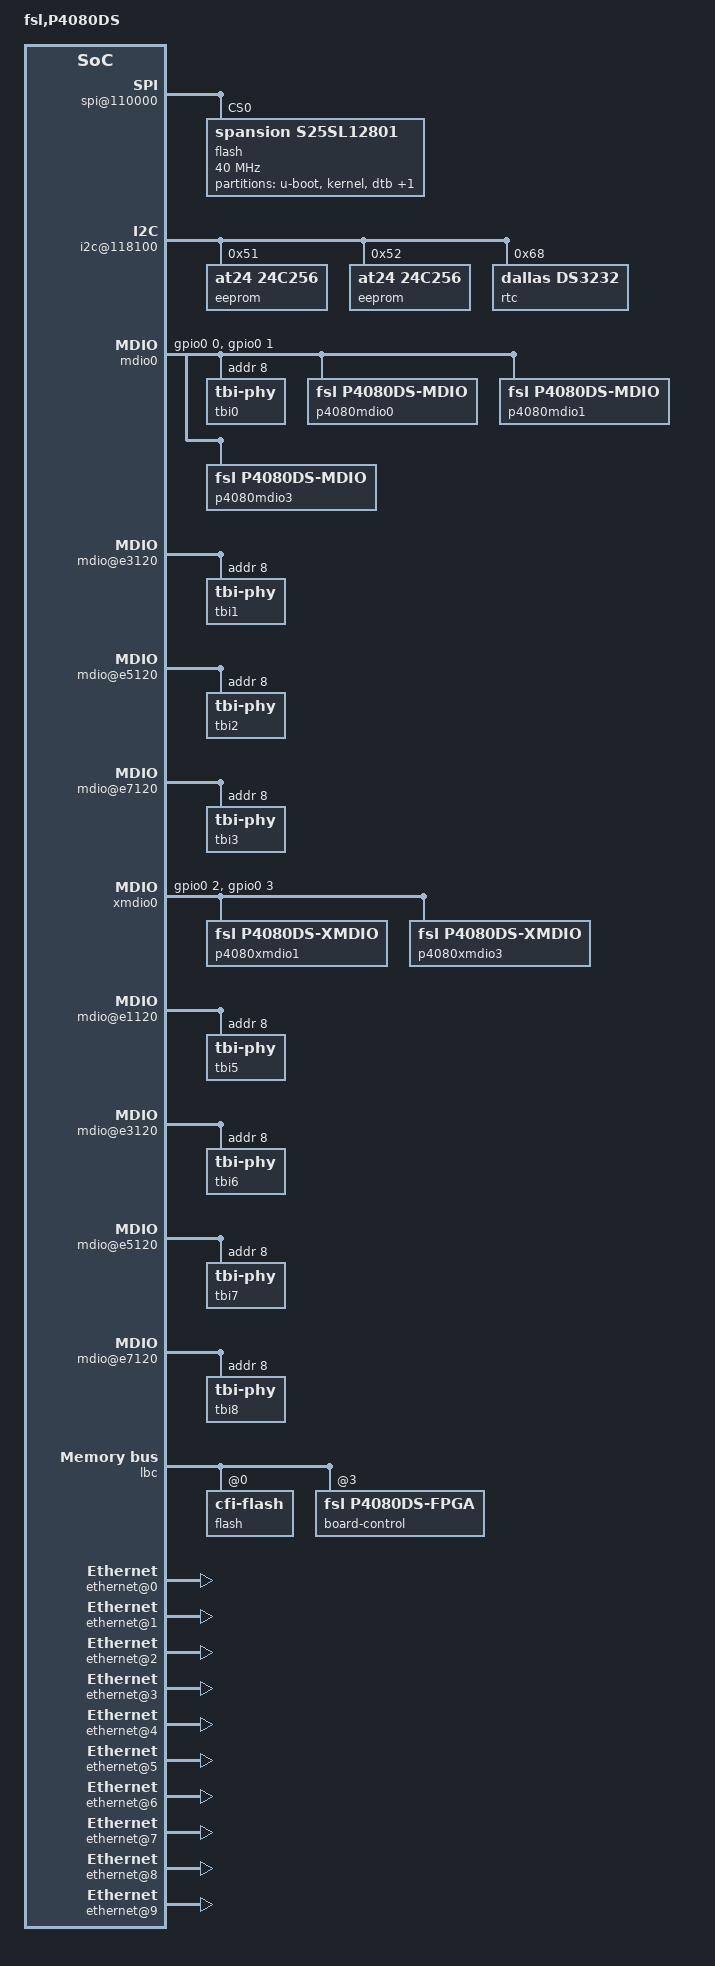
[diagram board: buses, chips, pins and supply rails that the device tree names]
/*
 * P4080DS Device Tree Source
 *
 * Copyright 2009-2011 Freescale Semiconductor Inc.
 *
 * Redistribution and use in source and binary forms, with or without
 * modification, are permitted provided that the following conditions are met:
 *     * Redistributions of source code must retain the above copyright
 *       notice, this list of conditions and the following disclaimer.
 *     * Redistributions in binary form must reproduce the above copyright
 *       notice, this list of conditions and the following disclaimer in the
 *       documentation and/or other materials provided with the distribution.
 *     * Neither the name of Freescale Semiconductor nor the
 *       names of its contributors may be used to endorse or promote products
 *       derived from this software without specific prior written permission.
 *
 *
 * ALTERNATIVELY, this software may be distributed under the terms of the
 * GNU General Public License ("GPL") as published by the Free Software
 * Foundation, either version 2 of that License or (at your option) any
 * later version.
 *
 * THIS SOFTWARE IS PROVIDED BY Freescale Semiconductor ``AS IS'' AND ANY
 * EXPRESS OR IMPLIED WARRANTIES, INCLUDING, BUT NOT LIMITED TO, THE IMPLIED
 * WARRANTIES OF MERCHANTABILITY AND FITNESS FOR A PARTICULAR PURPOSE ARE
 * DISCLAIMED. IN NO EVENT SHALL Freescale Semiconductor BE LIABLE FOR ANY
 * DIRECT, INDIRECT, INCIDENTAL, SPECIAL, EXEMPLARY, OR CONSEQUENTIAL DAMAGES
 * (INCLUDING, BUT NOT LIMITED TO, PROCUREMENT OF SUBSTITUTE GOODS OR SERVICES;
 * LOSS OF USE, DATA, OR PROFITS; OR BUSINESS INTERRUPTION) HOWEVER CAUSED AND
 * ON ANY THEORY OF LIABILITY, WHETHER IN CONTRACT, STRICT LIABILITY, OR TORT
 * (INCLUDING NEGLIGENCE OR OTHERWISE) ARISING IN ANY WAY OUT OF THE USE OF THIS
 * SOFTWARE, EVEN IF ADVISED OF THE POSSIBILITY OF SUCH DAMAGE.
 */

/include/ "fsl/p4080si-pre.dtsi"

/ {
	model = "fsl,P4080DS";
	compatible = "fsl,P4080DS";
	#address-cells = <2>;
	#size-cells = <2>;
	interrupt-parent = <&mpic>;

	aliases {
		ethernet0 = &enet0;
		ethernet1 = &enet1;
		ethernet2 = &enet2;
		ethernet3 = &enet3;
		ethernet4 = &enet4;
		ethernet5 = &enet5;
		ethernet6 = &enet6;
		ethernet7 = &enet7;
		ethernet8 = &enet8;
		ethernet9 = &enet9;
		phy_rgmii = &phyrgmii;
		phy5_slot3 = &phy5slot3;
		phy6_slot3 = &phy6slot3;
		phy7_slot3 = &phy7slot3;
		phy8_slot3 = &phy8slot3;
		emi1_slot3 = &p4080mdio2;
		emi1_slot4 = &p4080mdio1;
		emi1_slot5 = &p4080mdio3;
		emi1_rgmii = &p4080mdio0;
		emi2_slot4 = &p4080xmdio1;
		emi2_slot5 = &p4080xmdio3;
	};

	memory {
		device_type = "memory";
	};

	dcsr: dcsr@f00000000 {
		ranges = <0x00000000 0xf 0x00000000 0x01008000>;
	};

	bportals: bman-portals@ff4000000 {
		ranges = <0x0 0xf 0xf4000000 0x200000>;
		bman-portal@0 {
			cpu-handle = <&cpu0>;
		};
		bman-portal@4000 {
			cpu-handle = <&cpu1>;
		};
		bman-portal@8000 {
			cpu-handle = <&cpu2>;
		};
		bman-portal@c000 {
			cpu-handle = <&cpu3>;
		};
		bman-portal@10000 {
			cpu-handle = <&cpu4>;
		};
		bman-portal@14000 {
			cpu-handle = <&cpu5>;
		};
		bman-portal@18000 {
			cpu-handle = <&cpu6>;
		};
		bman-portal@1c000 {
			cpu-handle = <&cpu7>;
		};
		bman-portal@20000 {
		};
		bman-portal@24000 {
		};

		buffer-pool@0 {
			compatible = "fsl,p4080-bpool", "fsl,bpool";
			fsl,bpid = <0>;
			fsl,bpool-cfg = <0 0x100 0 1 0 0x100>;
		};
	};

	qportals: qman-portals@ff4200000 {
		ranges = <0x0 0xf 0xf4200000 0x200000>;
		qportal0: qman-portal@0 {
			cpu-handle = <&cpu0>;
			fsl,qman-pool-channels = <&qpool1 &qpool2 &qpool3
						  &qpool4 &qpool5 &qpool6
						  &qpool7 &qpool8 &qpool9
						  &qpool10 &qpool11 &qpool12
						  &qpool13 &qpool14 &qpool15>;
		};

		qportal1: qman-portal@4000 {
			cpu-handle = <&cpu1>;
			fsl,qman-pool-channels = <&qpool1 &qpool2 &qpool3
						  &qpool4 &qpool5 &qpool6
						  &qpool7 &qpool8 &qpool9
						  &qpool10 &qpool11 &qpool12
						  &qpool13 &qpool14 &qpool15>;
		};

		qportal2: qman-portal@8000 {
			cpu-handle = <&cpu2>;
			fsl,qman-pool-channels = <&qpool1 &qpool2 &qpool3
						  &qpool4 &qpool5 &qpool6
						  &qpool7 &qpool8 &qpool9
						  &qpool10 &qpool11 &qpool12
						  &qpool13 &qpool14 &qpool15>;
		};

		qportal3: qman-portal@c000 {
			cpu-handle = <&cpu3>;
			fsl,qman-pool-channels = <&qpool1 &qpool2 &qpool3
						  &qpool4 &qpool5 &qpool6
						  &qpool7 &qpool8 &qpool9
						  &qpool10 &qpool11 &qpool12
						  &qpool13 &qpool14 &qpool15>;
		};

		qportal4: qman-portal@10000 {
			cpu-handle = <&cpu4>;
			fsl,qman-pool-channels = <&qpool1 &qpool2 &qpool3
						  &qpool4 &qpool5 &qpool6
						  &qpool7 &qpool8 &qpool9
						  &qpool10 &qpool11 &qpool12
						  &qpool13 &qpool14 &qpool15>;
		};

		qportal5: qman-portal@14000 {
			cpu-handle = <&cpu5>;
			fsl,qman-pool-channels = <&qpool1 &qpool2 &qpool3
						  &qpool4 &qpool5 &qpool6
						  &qpool7 &qpool8 &qpool9
						  &qpool10 &qpool11 &qpool12
						  &qpool13 &qpool14 &qpool15>;
		};

		qportal6: qman-portal@18000 {
			cpu-handle = <&cpu6>;
			fsl,qman-pool-channels = <&qpool1 &qpool2 &qpool3
						  &qpool4 &qpool5 &qpool6
						  &qpool7 &qpool8 &qpool9
						  &qpool10 &qpool11 &qpool12
						  &qpool13 &qpool14 &qpool15>;
		};

		qportal7: qman-portal@1c000 {
			cpu-handle = <&cpu7>;
			fsl,qman-pool-channels = <&qpool1 &qpool2 &qpool3
						  &qpool4 &qpool5 &qpool6
						  &qpool7 &qpool8 &qpool9
						  &qpool10 &qpool11 &qpool12
						  &qpool13 &qpool14 &qpool15>;
		};

		qportal8: qman-portal@20000 {
			fsl,qman-pool-channels = <&qpool1 &qpool2 &qpool3
						  &qpool4 &qpool5 &qpool6
						  &qpool7 &qpool8 &qpool9
						  &qpool10 &qpool11 &qpool12
						  &qpool13 &qpool14 &qpool15>;
		};

		qportal9: qman-portal@24000 {
			fsl,qman-pool-channels = <&qpool1 &qpool2 &qpool3
						  &qpool4 &qpool5 &qpool6
						  &qpool7 &qpool8 &qpool9
						  &qpool10 &qpool11 &qpool12
						  &qpool13 &qpool14 &qpool15>;
		};
	};

	soc: soc@ffe000000 {
		ranges = <0x00000000 0xf 0xfe000000 0x1000000>;
		reg = <0xf 0xfe000000 0 0x00001000>;

		spi@110000 {
			flash@0 {
				#address-cells = <1>;
				#size-cells = <1>;
				compatible = "spansion,s25sl12801";
				reg = <0>;
				spi-max-frequency = <40000000>; /* input clock */
				partition@u-boot {
					label = "u-boot";
					reg = <0x00000000 0x00100000>;
					read-only;
				};
				partition@kernel {
					label = "kernel";
					reg = <0x00100000 0x00500000>;
					read-only;
				};
				partition@dtb {
					label = "dtb";
					reg = <0x00600000 0x00100000>;
					read-only;
				};
				partition@fs {
					label = "file system";
					reg = <0x00700000 0x00900000>;
				};
			};
		};

		i2c@118100 {
			eeprom@51 {
				compatible = "at24,24c256";
				reg = <0x51>;
			};
			eeprom@52 {
				compatible = "at24,24c256";
				reg = <0x52>;
			};
			rtc@68 {
				compatible = "dallas,ds3232";
				reg = <0x68>;
				interrupts = <0x1 0x1 0 0>;
			};
		};

		usb0: usb@210000 {
			phy_type = "ulpi";
		};

		usb1: usb@211000 {
			dr_mode = "host";
			phy_type = "ulpi";
		};

		fman0: fman@400000 {
			enet0: ethernet@e0000 {
				tbi-handle = <&tbi0>;
				phy-handle = <&phy0>;
				phy-connection-type = "sgmii";
			};

			mdio0: mdio@e1120 {
				gpios = <&gpio0 0 0
					 &gpio0 1 0>;

				tbi0: tbi-phy@8 {
					reg = <0x8>;
					device_type = "tbi-phy";
				};

				p4080mdio0: p4080ds-mdio0 {
					#address-cells = <1>;
					#size-cells = <0>;
					compatible = "fsl,p4080ds-mdio";
					fsl,mdio-handle = <&mdio0>;
					fsl,muxval = <0>;

					phyrgmii: ethernet-phy@0 {
						reg = <0x0>;
					};
				};

				p4080mdio1: p4080ds-mdio1 {
					#address-cells = <1>;
					#size-cells = <0>;
					compatible = "fsl,p4080ds-mdio";
					fsl,mdio-handle = <&mdio0>;
					fsl,muxval = <1>;

					phy5: ethernet-phy@1c {
						reg = <0x1c>;
					};
					phy6: ethernet-phy@1d {
						reg = <0x1d>;
					};
					phy7: ethernet-phy@1e {
						reg = <0x1e>;
					};
					phy8: ethernet-phy@1f {
						reg = <0x1f>;
					};
				};

				p4080mdio2: p4080ds-mdio2 {
					#address-cells = <1>;
					#size-cells = <0>;
					compatible = "fsl,p4080ds-mdio";
					fsl,mdio-handle = <&mdio0>;
					fsl,muxval = <2>;
					status = "disabled";

					phy5slot3: ethernet-phy@1c {
						reg = <0x1c>;
					};
					phy6slot3: ethernet-phy@1d {
						reg = <0x1d>;
					};
					phy7slot3: ethernet-phy@1e {
						reg = <0x1e>;
					};
					phy8slot3: ethernet-phy@1f {
						reg = <0x1f>;
					};
				};

				p4080mdio3: p4080ds-mdio3 {
					#address-cells = <1>;
					#size-cells = <0>;
					compatible = "fsl,p4080ds-mdio";
					fsl,mdio-handle = <&mdio0>;
					fsl,muxval = <3>;

					phy0: ethernet-phy@1c {
						reg = <0x1c>;
					};
					phy1: ethernet-phy@1d {
						reg = <0x1d>;
					};
					phy2: ethernet-phy@1e {
						reg = <0x1e>;
					};
					phy3: ethernet-phy@1f {
						reg = <0x1f>;
					};
				};
			};

			enet1: ethernet@e2000 {
				tbi-handle = <&tbi1>;
				phy-handle = <&phy1>;
				phy-connection-type = "sgmii";
			};

			mdio@e3120 {
				tbi1: tbi-phy@8 {
					reg = <8>;
					device_type = "tbi-phy";
				};
			};

			enet2: ethernet@e4000 {
				tbi-handle = <&tbi2>;
				phy-handle = <&phy2>;
				phy-connection-type = "sgmii";
			};

			mdio@e5120 {
				tbi2: tbi-phy@8 {
					reg = <8>;
					device_type = "tbi-phy";
				};
			};

			enet3: ethernet@e6000 {
				tbi-handle = <&tbi3>;
				phy-handle = <&phy3>;
				phy-connection-type = "sgmii";
			};

			mdio@e7120 {
				tbi3: tbi-phy@8 {
					reg = <8>;
					device_type = "tbi-phy";
				};
			};
			enet4: ethernet@f0000 {
				phy-handle = <&phy10>;
				phy-connection-type = "xgmii";
			};

			xmdio0: mdio@f1000 {
				gpios = <&gpio0 2 0
					 &gpio0 3 0>;

				p4080xmdio1: p4080ds-xmdio1 {
					#address-cells = <1>;
					#size-cells = <0>;
					compatible = "fsl,p4080ds-xmdio";
					fsl,mdio-handle = <&xmdio0>;
					fsl,muxval = <1>;

					phy11: ethernet-phy@0 {
						reg = <0x0>;
					};
				};

				p4080xmdio3: p4080ds-xmdio3 {
					#address-cells = <1>;
					#size-cells = <0>;
					compatible = "fsl,p4080ds-xmdio";
					fsl,mdio-handle = <&xmdio0>;
					fsl,muxval = <3>;

					phy10: ethernet-phy@4 {
						reg = <0x4>;
					};
				};
			};
		};

		fman1: fman@500000 {
			enet5: ethernet@e0000 {
				tbi-handle = <&tbi5>;
				phy-handle = <&phy5>;
				phy-connection-type = "sgmii";
			};
			mdio@e1120 {
				tbi5: tbi-phy@8 {
					reg = <8>;
					device_type = "tbi-phy";
				};
			};

			enet6: ethernet@e2000 {
				tbi-handle = <&tbi6>;
				phy-handle = <&phy6>;
				phy-connection-type = "sgmii";
			};

			mdio@e3120 {
				tbi6: tbi-phy@8 {
					reg = <8>;
					device_type = "tbi-phy";
				};
			};

			enet7: ethernet@e4000 {
				tbi-handle = <&tbi7>;
				phy-handle = <&phy7>;
				phy-connection-type = "sgmii";
			};

			mdio@e5120 {
				tbi7: tbi-phy@8 {
					reg = <8>;
					device_type = "tbi-phy";
				};
			};

			enet8: ethernet@e6000 {
				tbi-handle = <&tbi8>;
				phy-handle = <&phy8>;
				phy-connection-type = "sgmii";
			};

			mdio@e7120 {
				tbi8: tbi-phy@8 {
					reg = <8>;
					device_type = "tbi-phy";
				};
			};

			enet9: ethernet@f0000 {
				phy-handle = <&phy11>;
				phy-connection-type = "xgmii";
			};
		};
	};

	rio: rapidio@ffe0c0000 {
		reg = <0xf 0xfe0c0000 0 0x11000>;

		port1 {
			ranges = <0 0 0xc 0x20000000 0 0x10000000>;
		};
		port2 {
			ranges = <0 0 0xc 0x30000000 0 0x10000000>;
		};
	};

	lbc: localbus@ffe124000 {
		reg = <0xf 0xfe124000 0 0x1000>;
		ranges = <0 0 0xf 0xe8000000 0x08000000
			  3 0 0xf 0xffdf0000 0x00008000>;

		flash@0,0 {
			compatible = "cfi-flash";
			reg = <0 0 0x08000000>;
			bank-width = <2>;
			device-width = <2>;
		};

		board-control@3,0 {
			compatible = "fsl,p4080ds-fpga", "fsl,fpga-ngpixis";
			reg = <3 0 0x30>;
		};
	};

	pci0: pcie@ffe200000 {
		reg = <0xf 0xfe200000 0 0x1000>;
		ranges = <0x02000000 0 0xe0000000 0xc 0x00000000 0x0 0x20000000
			  0x01000000 0 0x00000000 0xf 0xf8000000 0x0 0x00010000>;
		pcie@0 {
			ranges = <0x02000000 0 0xe0000000
				  0x02000000 0 0xe0000000
				  0 0x20000000

				  0x01000000 0 0x00000000
				  0x01000000 0 0x00000000
				  0 0x00010000>;
		};
	};

	pci1: pcie@ffe201000 {
		reg = <0xf 0xfe201000 0 0x1000>;
		ranges = <0x02000000 0x0 0xe0000000 0xc 0x20000000 0x0 0x20000000
			  0x01000000 0x0 0x00000000 0xf 0xf8010000 0x0 0x00010000>;
		pcie@0 {
			ranges = <0x02000000 0 0xe0000000
				  0x02000000 0 0xe0000000
				  0 0x20000000

				  0x01000000 0 0x00000000
				  0x01000000 0 0x00000000
				  0 0x00010000>;
		};
	};

	pci2: pcie@ffe202000 {
		reg = <0xf 0xfe202000 0 0x1000>;
		ranges = <0x02000000 0 0xe0000000 0xc 0x40000000 0 0x20000000
			  0x01000000 0 0x00000000 0xf 0xf8020000 0 0x00010000>;
		pcie@0 {
			ranges = <0x02000000 0 0xe0000000
				  0x02000000 0 0xe0000000
				  0 0x20000000

				  0x01000000 0 0x00000000
				  0x01000000 0 0x00000000
				  0 0x00010000>;
		};
	};

	fsl,dpaa {
		compatible = "fsl,p4080-dpaa", "fsl,dpaa";

		ethernet@0 {
			compatible = "fsl,p4080-dpa-ethernet", "fsl,dpa-ethernet";
			fsl,qman-channel = <&qpool1>;
			fsl,fman-mac = <&enet0>;
		};
		ethernet@1 {
			compatible = "fsl,p4080-dpa-ethernet", "fsl,dpa-ethernet";
			fsl,qman-channel = <&qpool1>;
			fsl,fman-mac = <&enet1>;
		};
		ethernet@2 {
			compatible = "fsl,p4080-dpa-ethernet", "fsl,dpa-ethernet";
			fsl,qman-channel = <&qpool1>;
			fsl,fman-mac = <&enet2>;
		};
		ethernet@3 {
			compatible = "fsl,p4080-dpa-ethernet", "fsl,dpa-ethernet";
			fsl,qman-channel = <&qpool1>;
			fsl,fman-mac = <&enet3>;
		};
		ethernet@4 {
			compatible = "fsl,p4080-dpa-ethernet", "fsl,dpa-ethernet";
			fsl,qman-channel = <&qpool1>;
			fsl,fman-mac = <&enet4>;
		};
		ethernet@5 {
			compatible = "fsl,p4080-dpa-ethernet", "fsl,dpa-ethernet";
			fsl,qman-channel = <&qpool1>;
			fsl,fman-mac = <&enet5>;
		};
		ethernet@6 {
			compatible = "fsl,p4080-dpa-ethernet", "fsl,dpa-ethernet";
			fsl,qman-channel = <&qpool1>;
			fsl,fman-mac = <&enet6>;
		};
		ethernet@7 {
			compatible = "fsl,p4080-dpa-ethernet", "fsl,dpa-ethernet";
			fsl,qman-channel = <&qpool1>;
			fsl,fman-mac = <&enet7>;
		};
		ethernet@8 {
			compatible = "fsl,p4080-dpa-ethernet", "fsl,dpa-ethernet";
			fsl,qman-channel = <&qpool1>;
			fsl,fman-mac = <&enet8>;
		};
		ethernet@9 {
			compatible = "fsl,p4080-dpa-ethernet", "fsl,dpa-ethernet";
			fsl,qman-channel = <&qpool1>;
			fsl,fman-mac = <&enet9>;
		};
	};
};

/include/ "fsl/p4080si-post.dtsi"
